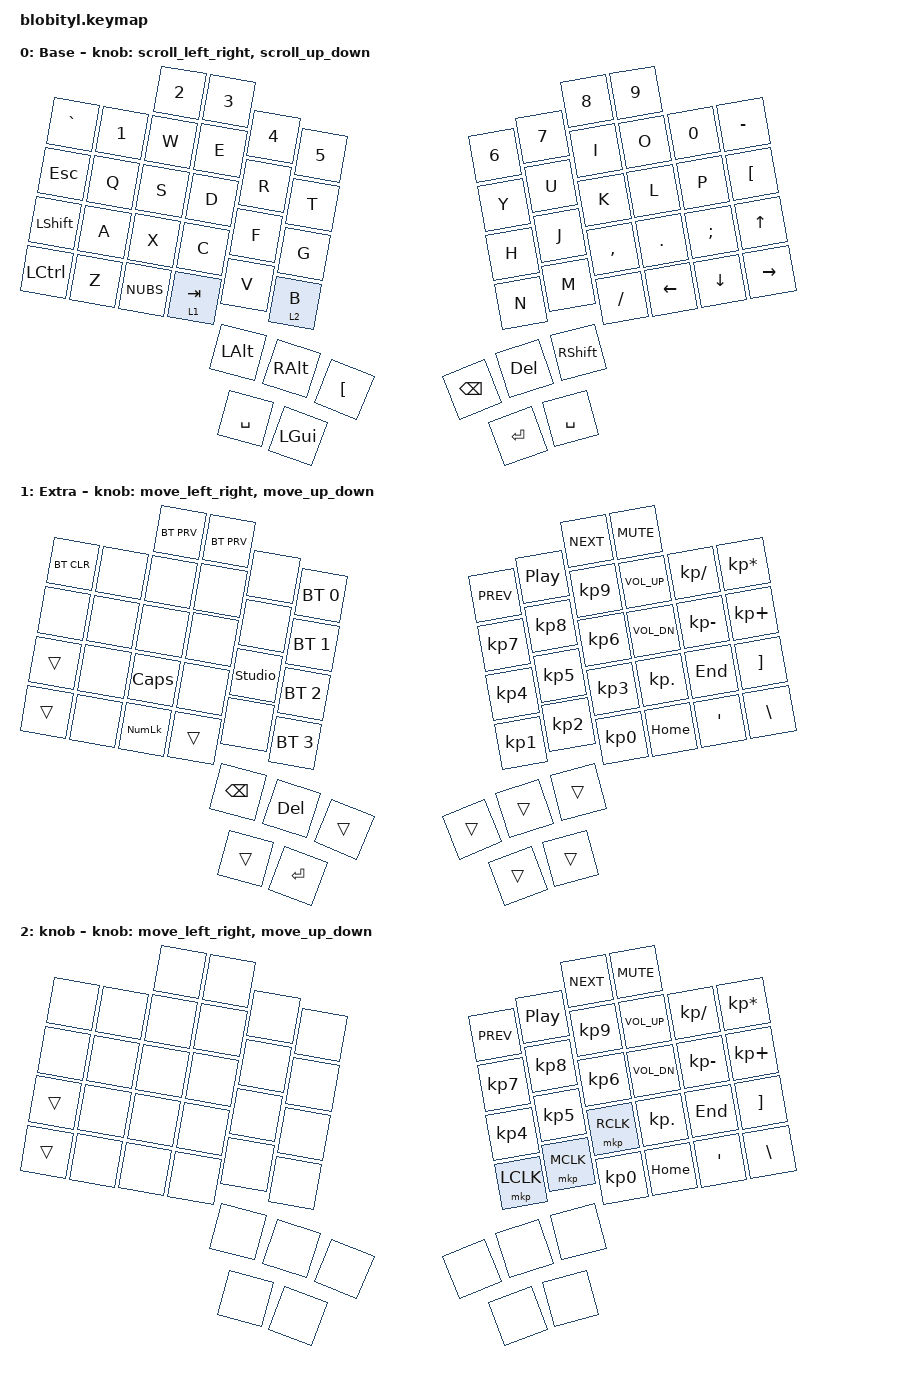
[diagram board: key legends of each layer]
#include <behaviors.dtsi>
#include <dt-bindings/zmk/keys.h>
#include <dt-bindings/zmk/bt.h>
#include <dt-bindings/zmk/outputs.h>
#define ZMK_POINTING_DEFAULT_MOVE_VAL 5000  // default: 600
#define ZMK_POINTING_DEFAULT_SCRL_VAL 100    // default: 10

#include <dt-bindings/zmk/pointing.h>

/ {
  behaviors {
    scroll_up_down: behavior_sensor_rotate_mouse_wheel_up_down {
      compatible = "zmk,behavior-sensor-rotate";
      #sensor-binding-cells = <0>;
      bindings = <&msc SCRL_UP>, <&msc SCRL_DOWN>;
      tap-ms = <20>;
    };

    scroll_left_right: behavior_sensor_rotate_mouse_wheel_left_right {
      compatible = "zmk,behavior-sensor-rotate";
      #sensor-binding-cells = <0>;
      bindings = <&msc SCRL_LEFT>, <&msc SCRL_RIGHT>;
      tap-ms = <20>;
    };

    move_up_down: behavior_sensor_rotate_mouse_move_up_down {
      compatible = "zmk,behavior-sensor-rotate";
      #sensor-binding-cells = <0>;
      bindings = <&mmv MOVE_UP>, <&mmv MOVE_DOWN>;
      tap-ms = <20>;
    };

    move_left_right: behavior_sensor_rotate_mouse_move_left_right {
      compatible = "zmk,behavior-sensor-rotate";
      #sensor-binding-cells = <0>;
      bindings = <&mmv MOVE_LEFT>, <&mmv MOVE_RIGHT>;
      tap-ms = <20>;
    };
  };
};

/ {
  keymap {
    compatible = "zmk,keymap";

    default_layer { // Layer 0
      display-name = "Base";
      // -------------------------------------
      // RC(0,0) | RC(0,1) | RC(0,2) | RC(0,3) | RC(0,4) | RC(0,5)                |               RC(0,8) | RC(0,9) | RC(0,10) | RC(0,11) | RC(0,12) | RC(0,13)
      // RC(1,0) | RC(1,1) | RC(1,2) | RC(1,3) | RC(1,4) | RC(1,5)                |               RC(1,8) | RC(1,9) | RC(1,10) | RC(1,11) | RC(1,12) | RC(1,13)
      // RC(2,0) | RC(2,1) | RC(2,2) | RC(2,3) | RC(2,4) | RC(2,5)                |               RC(2,8) | RC(2,9) | RC(2,10) | RC(2,11) | RC(2,12) | RC(2,13)
      // RC(3,0) | RC(3,1) | RC(3,2) | RC(3,3) | RC(3,4) | RC(3,5)                |               RC(3,8) | RC(3,9) | RC(3,10) | RC(3,11) | RC(3,12) | RC(3,13)
      //                     RC(4,2) | RC(4,3)                                    |                                   RC(4,10) | RC(4,11)
      //                                         RC(2,6) | RC(1,6) | RC(0,6)      |     RC(0,7) | RC(1,7) | RC(2,7)
      //                                         RC(4,6) | RC(3,4)                |               RC(3,7) | RC(4,7)

      // --------------------------------------------------------------------------------------------------------------------------------------------------
      // PIPE   |  1  |  2  |  3  |  4  |  5                |               6  |  7  |  8  |  9  |  0   |   ?
      // ESC    |  Q  |  W  |  E  |  R  |  T                |               Y  |  U  |  I  |  O  |  P   |   ´
      // LSHIFT |  A  |  S  |  D  |  F  |  G                |               H  |  J  |  K  |  L  |  Ñ   |  UP
      // CTRL   |  Z  |  X  |  C  |  V  |  B                |               N  |  M  | ,;  |  .: | DOWN |  ->
      //                 >< | TAB                                                       -_ |  <-
      //                            ALT | ALTGr | ´         |      BACK | Supr | RSHIFT
      //                           SPACE| WINDWS            |            ENTER | SPACE

      bindings = <
        &kp GRAVE   &kp N1      &kp N2     &kp N3      &kp N4     &kp N5                                  &kp N6    &kp N7    &kp N8     &kp N9    &kp N0     &kp MINUS
        &kp ESC     &kp Q       &kp W      &kp E       &kp R      &kp T                                   &kp Y     &kp U     &kp I      &kp O     &kp P      &kp LBKT
        &kp LSHFT   &kp A       &kp S      &kp D       &kp F      &kp G                                   &kp H     &kp J     &kp K      &kp L     &kp SEMI   &kp UP
        &kp LCTRL   &kp Z       &kp X      &kp C       &kp V      &lt 2 B                                 &kp N     &kp M     &kp COMMA  &kp DOT   &kp DOWN   &kp RIGHT
                                &kp NUBS   &lt 1 TAB                                                                          &kp FSLH   &kp LEFT
                                                    &kp LALT   &kp RALT    &kp LBKT         &kp BSPC    &kp DEL    &kp RSHIFT
                                                    &kp SPACE  &kp LGUI                                 &kp ENTER  &kp SPACE
      >;
      sensor-bindings = <&scroll_left_right &scroll_up_down>;
    };

    extra_layer { // Layer 1
      display-name = "Extra";

      bindings = <
        &bt BT_CLR &none   &bt BT_PRV  &bt BT_PRV  &none    &bt BT_SEL 0                                   &kp C_PREV    &kp C_PP      &kp C_NEXT    &kp C_MUTE    &kp KP_SLASH  &kp KP_ASTERISK
        &none      &none   &none       &none       &none    &bt BT_SEL 1                                   &kp KP_N7     &kp KP_N8     &kp KP_N9     &kp C_VOL_UP  &kp KP_MINUS  &kp KP_PLUS
        &trans     &none   &none       &none       &studio_unlock    &bt BT_SEL 2                          &kp KP_N4     &kp KP_N5     &kp KP_N6     &kp C_VOL_DN  &kp END       &kp RBKT
        &trans     &none   &kp CAPS    &none       &none    &bt BT_SEL 3                                   &kp KP_N1     &kp KP_N2     &kp KP_N3     &kp KP_DOT    &kp APOS      &kp BSLH
                           &kp KP_NLCK &trans                                                                            &kp KP_N0     &kp HOME
                                                    &kp BSPC &kp DEL    &trans              &trans    &trans    &trans
                                                    &trans   &kp ENTER                                 &trans   &trans
      >;
      sensor-bindings = <&move_left_right &move_up_down>;
    };

    knob_layer { // Layer 2
      display-name = "knob";

      bindings = <
        &none      &none   &none       &none       &none    &none                                   &kp C_PREV    &kp C_PP      &kp C_NEXT    &kp C_MUTE    &kp KP_SLASH  &kp KP_ASTERISK
        &none      &none   &none       &none       &none    &none                                   &kp KP_N7     &kp KP_N8     &kp KP_N9     &kp C_VOL_UP  &kp KP_MINUS  &kp KP_PLUS
        &trans     &none   &none       &none       &none    &none                                   &kp KP_N4     &kp KP_N5     &kp KP_N6     &kp C_VOL_DN  &kp END       &kp RBKT
        &trans     &none   &none       &none       &none    &none                                   &mkp LCLK     &mkp MCLK     &mkp RCLK     &kp KP_DOT    &kp APOS      &kp BSLH
                           &none       &none                                                                            &kp KP_N0     &kp HOME
                                                    &none   &none    &none              &none    &none    &none
                                                    &none   &none                                   &none   &none
      >;
      sensor-bindings = <&move_left_right &move_up_down>;
    };

    extra1 {
      status = "reserved";
    };

    extra2 {
      status = "reserved";
    };
  };
 };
